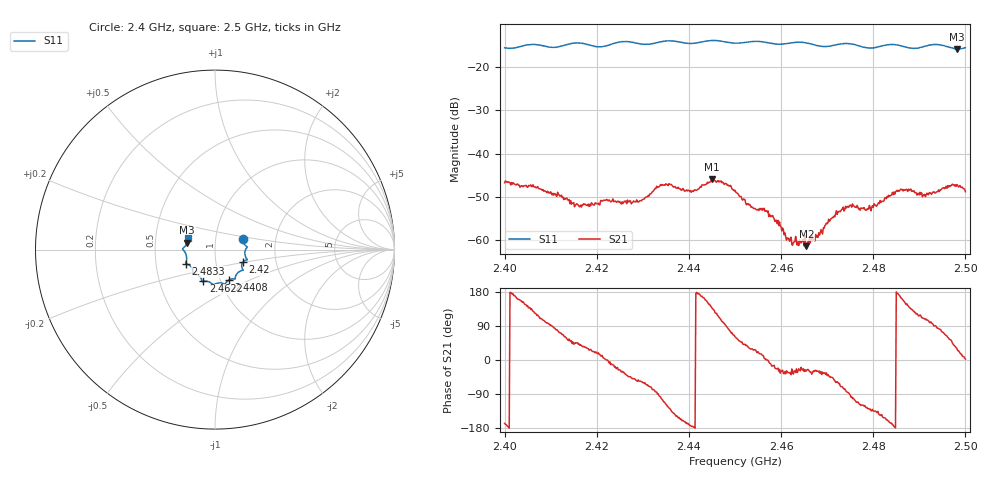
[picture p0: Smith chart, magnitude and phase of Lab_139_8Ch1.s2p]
# Hz S RI R 50
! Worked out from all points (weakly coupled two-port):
!   601 points, 2.4 GHz to 2.5 GHz, reference 50 ohm
!   highest |S21| = -45.88 dB at 2.445 GHz (marker M1); lowest = -61.3 dB at 2.4655 GHz (marker M2)
!   lowest |S11| = -15.9 dB at 2.4982 GHz (marker M3), VSWR 1.38, Z = 36.4 + j2.92 ohm
!   |S11| at or under -10 dB: start of sweep to end of sweep
!   S12 and S22 are empty: the file has one direction only
!   S11 on the Smith chart (normalised r, x): 2.4 GHz: 1.35, +0.16; 2.42 GHz: 1.35, -0.20; 2.4408 GHz: 1.09, -0.38; 2.4622 GHz: 0.83, -0.30; 2.4833 GHz: 0.71, -0.12; 2.5 GHz: 0.73, +0.10
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2.4e9  0.1541 0.0591  -0.0045 -0.001  0 0  0 0
2.406667e9  0.1799 0.0142  -0.00227 0.00346  0 0  0 0
2.416667e9  0.1779 -0.057  0.0019 0.00149  0 0  0 0
2.42e9  0.1548 -0.0708  0.0025 0.000862  0 0  0 0
2.429333e9  0.1391 -0.1205  0.0016 -0.00238  0 0  0 0
2.433333e9  0.1133 -0.1538  5.08e-05 -0.00415  0 0  0 0
2.440833e9  0.0763 -0.1697  -0.0037 -0.000327  0 0  0 0
2.445e9  0.0555 -0.1931  -0.00373 0.00345  0 0  0 0
2.45e9  0.025 -0.1853  0.00181 0.00331  0 0  0 0
2.454e9  -0.00554 -0.1955  0.00209 0.00102  0 0  0 0
2.456667e9  -0.0157 -0.191  0.00218 3.01e-05  0 0  0 0
2.462167e9  -0.0643 -0.1771  0.000848 -0.000678  0 0  0 0
2.4655e9  -0.0731 -0.1737  0.000755 -0.000404  0 0  0 0
2.466667e9  -0.0749 -0.1661  0.000899 -0.000688  0 0  0 0
2.473e9  -0.1217 -0.1373  0.000729 -0.00207  0 0  0 0
2.475333e9  -0.1242 -0.1344  -0.000309 -0.00239  0 0  0 0
2.479e9  -0.1297 -0.1008  -0.00143 -0.0018  0 0  0 0
2.483333e9  -0.1616 -0.0788  -0.00313 -0.00107  0 0  0 0
2.485667e9  -0.1616 -0.0706  -0.00365 0.000588  0 0  0 0
2.491167e9  -0.1715 -0.00767  -0.00111 0.00319  0 0  0 0
2.498167e9  -0.1557 0.0391  0.00379 0.00221  0 0  0 0
2.5e9  -0.1527 0.0654  0.00363 0.000157  0 0  0 0
